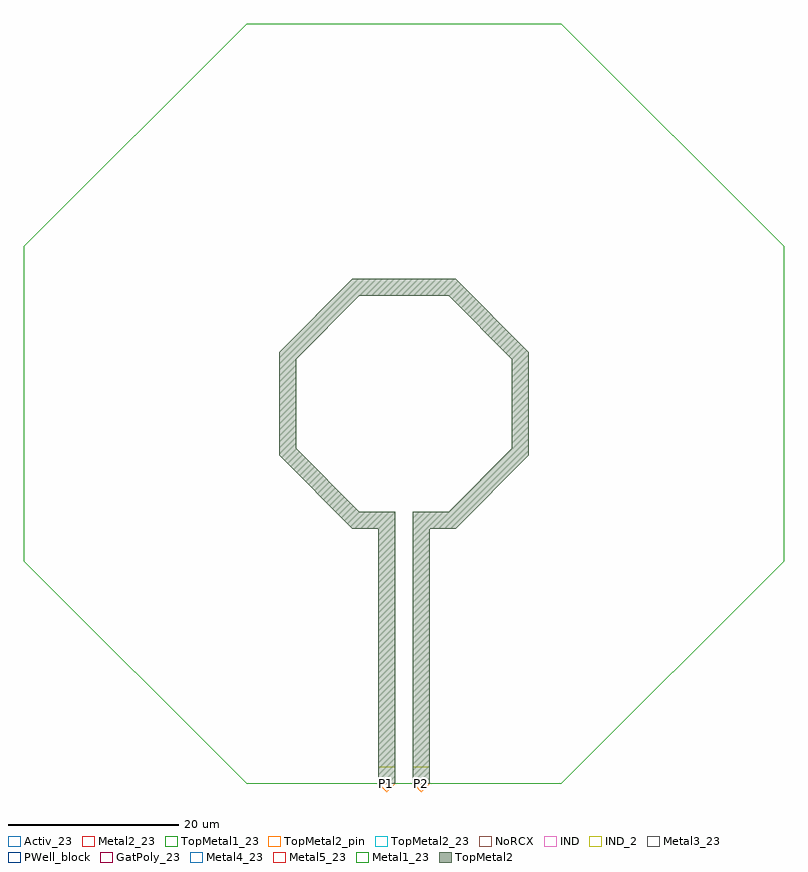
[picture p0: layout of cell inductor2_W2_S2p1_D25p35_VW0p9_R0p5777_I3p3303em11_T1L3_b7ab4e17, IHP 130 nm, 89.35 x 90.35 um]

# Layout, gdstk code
import gdstk
lib = gdstk.Library(unit=1e-6, precision=1e-09)
def R(c, l, rs):  # rectangles x0, y0, x1, y1
    for r in rs: c.add(gdstk.rectangle(r[:2], r[2:], *l))
def P(c, l, *ps):  # polygons
    for p in ps: c.add(gdstk.Polygon(p, *l))
Activ_23 = (1, 23)
GatPoly_23 = (5, 23)
Metal1_23 = (8, 23)
Metal2_23 = (10, 23)
IND = (27, 0)
IND_2 = (27, 2)
Metal3_23 = (30, 23)
PWell_block = (46, 21)
Metal4_23 = (50, 23)
Metal5_23 = (67, 23)
TopMetal1_23 = (126, 23)
TopMetal2 = (134, 0)
TopMetal2_pin = (134, 2)
TopMetal2_23 = (134, 23)
NoRCX = (148, 0)

unnamed_9 = lib.new_cell('Unnamed_9')
R(unnamed_9, TopMetal2, [(-3.05,57.35,3.05,59.35)])

unnamed_7 = lib.new_cell('Unnamed_7')
P(unnamed_7, TopMetal2, [(-6.079,30),(-14.675,38.596),(-14.675,50.754),(-6.079,59.35),(-1.05,59.35),(-1.05,57.35),(-5.25,57.35),(-12.675,49.925),(-12.675,39.425),(-5.25,32),(-1.05,32),(-1.05,30)])

rectangle_gdsfactorypcom = lib.new_cell('rectangle_gdsfactorypcomponentspshapesprectangle_S2_2_L_b543f7ed')
R(rectangle_gdsfactorypcom, IND_2, [(0,0,2,2)])

unnamed_8 = lib.new_cell('Unnamed_8')
P(unnamed_8, TopMetal2, [(1.05,30),(1.05,32),(5.25,32),(12.675,39.425),(12.675,49.925),(5.25,57.35),(1.05,57.35),(1.05,59.35),(6.079,59.35),(14.675,50.754),(14.675,38.596),(6.079,30)])

c_rectangle_gdsfactorypcom = lib.new_cell('rectangle_gdsfactorypcomponentspshapesprectangle_S2_2_L_ef4d5838')
R(c_rectangle_gdsfactorypcom, TopMetal2_pin, [(0,0,2,2)])

c_rectangle_gdsfactorypcom_ = lib.new_cell('rectangle_gdsfactorypcomponentspshapesprectangle_S2_32__92c0b73a')
R(c_rectangle_gdsfactorypcom_, TopMetal2, [(0,0,2,32)])

inductor2_w2_s2p1_d25p35 = lib.new_cell('inductor2_W2_S2p1_D25p35_VW0p9_R0p5777_I3p3303em11_T1L3_b7ab4e17')
P(inductor2_w2_s2p1_d25p35, Activ_23, [(-18.505,0),(-44.675,26.17),(-44.675,63.18),(-18.505,89.35),(18.505,89.35),(44.675,63.18),(44.675,26.17),(18.505,0)])
P(inductor2_w2_s2p1_d25p35, GatPoly_23, [(-18.505,0),(-44.675,26.17),(-44.675,63.18),(-18.505,89.35),(18.505,89.35),(44.675,63.18),(44.675,26.17),(18.505,0)])
P(inductor2_w2_s2p1_d25p35, Metal1_23, [(-18.505,0),(-44.675,26.17),(-44.675,63.18),(-18.505,89.35),(18.505,89.35),(44.675,63.18),(44.675,26.17),(18.505,0)])
P(inductor2_w2_s2p1_d25p35, Metal2_23, [(-18.505,0),(-44.675,26.17),(-44.675,63.18),(-18.505,89.35),(18.505,89.35),(44.675,63.18),(44.675,26.17),(18.505,0)])
P(inductor2_w2_s2p1_d25p35, IND, [(-18.505,0),(-44.675,26.17),(-44.675,63.18),(-18.505,89.35),(18.505,89.35),(44.675,63.18),(44.675,26.17),(18.505,0)])
P(inductor2_w2_s2p1_d25p35, Metal3_23, [(-18.505,0),(-44.675,26.17),(-44.675,63.18),(-18.505,89.35),(18.505,89.35),(44.675,63.18),(44.675,26.17),(18.505,0)])
P(inductor2_w2_s2p1_d25p35, PWell_block, [(-18.505,0),(-44.675,26.17),(-44.675,63.18),(-18.505,89.35),(18.505,89.35),(44.675,63.18),(44.675,26.17),(18.505,0)])
P(inductor2_w2_s2p1_d25p35, Metal4_23, [(-18.505,0),(-44.675,26.17),(-44.675,63.18),(-18.505,89.35),(18.505,89.35),(44.675,63.18),(44.675,26.17),(18.505,0)])
P(inductor2_w2_s2p1_d25p35, Metal5_23, [(-18.505,0),(-44.675,26.17),(-44.675,63.18),(-18.505,89.35),(18.505,89.35),(44.675,63.18),(44.675,26.17),(18.505,0)])
P(inductor2_w2_s2p1_d25p35, TopMetal1_23, [(-18.505,0),(-44.675,26.17),(-44.675,63.18),(-18.505,89.35),(18.505,89.35),(44.675,63.18),(44.675,26.17),(18.505,0)])
P(inductor2_w2_s2p1_d25p35, TopMetal2_pin, [(-2.05,-1),(-2.95,-0.1),(-2.8,-0.1),(-2.05,-0.859),(-2.05,-0.1),(-2.95,-0.1),(-3.05,0),(-1.05,0)],
  [(2.05,-1),(1.15,-0.1),(1.3,-0.1),(2.05,-0.859),(2.05,-0.1),(1.15,-0.1),(1.05,0),(3.05,0)])
P(inductor2_w2_s2p1_d25p35, TopMetal2_23, [(-18.505,0),(-44.675,26.17),(-44.675,63.18),(-18.505,89.35),(18.505,89.35),(44.675,63.18),(44.675,26.17),(18.505,0)])
P(inductor2_w2_s2p1_d25p35, NoRCX, [(-18.505,0),(-44.675,26.17),(-44.675,63.18),(-18.505,89.35),(18.505,89.35),(44.675,63.18),(44.675,26.17),(18.505,0)])
inductor2_w2_s2p1_d25p35.add(gdstk.Reference(unnamed_9, (0,0)))
inductor2_w2_s2p1_d25p35.add(gdstk.Reference(unnamed_7, (0,0)))
inductor2_w2_s2p1_d25p35.add(gdstk.Reference(rectangle_gdsfactorypcom, (-3.05,0)))
inductor2_w2_s2p1_d25p35.add(gdstk.Reference(rectangle_gdsfactorypcom, (1.05,0)))
inductor2_w2_s2p1_d25p35.add(gdstk.Reference(unnamed_8, (0,0)))
inductor2_w2_s2p1_d25p35.add(gdstk.Reference(c_rectangle_gdsfactorypcom, (-3.05,0)))
inductor2_w2_s2p1_d25p35.add(gdstk.Reference(c_rectangle_gdsfactorypcom, (1.05,0)))
inductor2_w2_s2p1_d25p35.add(gdstk.Reference(c_rectangle_gdsfactorypcom_, (-3.05,0)))
inductor2_w2_s2p1_d25p35.add(gdstk.Reference(c_rectangle_gdsfactorypcom_, (1.05,0)))
inductor2_w2_s2p1_d25p35.add(gdstk.Label('P2', (2.05,0), layer=134, texttype=2))
inductor2_w2_s2p1_d25p35.add(gdstk.Label('P1', (-2.05,0), layer=134, texttype=2))

lib.write_gds('inductor2_W2_S2p1_D25p35_VW0p9_R0p5777_I3p3303em11_T1L3_b7ab4e17.gds')
